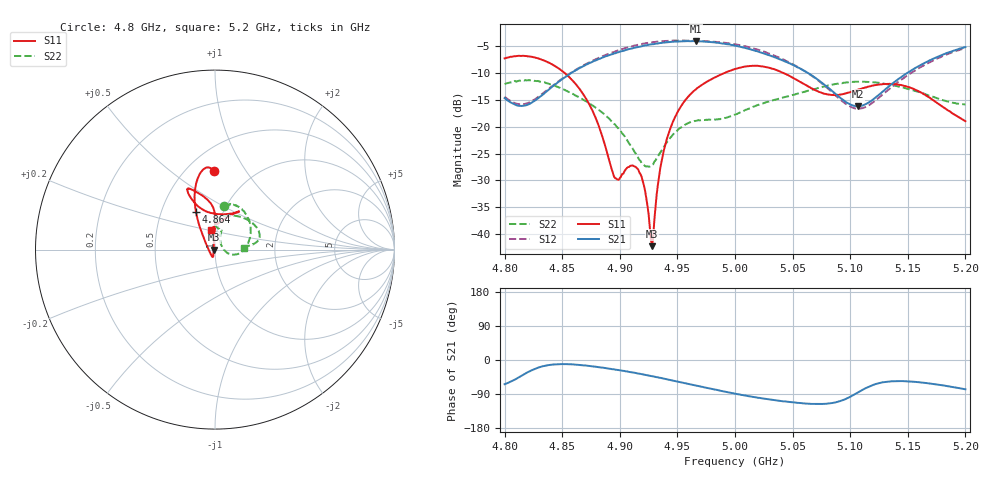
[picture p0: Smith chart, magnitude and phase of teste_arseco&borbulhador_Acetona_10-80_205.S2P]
! Network Analyzer HP8722D
! Hewlett-Packard
! Data name: Linha & Wilkinson
! Saver's name: Rodrigo Anjos
! Comments: Teste da utilização de aquisição
! continua pelo VNA HP8722D
! Time and date: 25/4/2025 16:58
!  Frequency  S11  S21  S12  S22
# HZ  S  MA R 50
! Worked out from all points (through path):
!   401 points, 4.8 GHz to 5.2 GHz, reference 50 ohm
!   highest |S21| = -3.99 dB at 4.966 GHz (marker M1); lowest = -16.2 dB at 5.107 GHz (marker M2)
!   lowest |S11| = -42.3 dB at 4.928 GHz (marker M3), VSWR 1.02, Z = 49.2 + j0.047 ohm
!   |S11| at or under -10 dB: 4.852 GHz to 4.99 GHz (137.8 MHz wide, 2.8 % of centre); 5.043 GHz to end of sweep
!   |S22| runs from -27.4 to -11.3 dB; largest |S21 - S12| = 1.2
!   S11 on the Smith chart (normalised r, x): 4.8 GHz: 0.67, +0.72; 4.864 GHz: 0.75, +0.33; 5.2 GHz: 0.93, +0.21
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4.8e9  0.4352 90.9  0.1856 -63.8  0.1906 69.6  0.25 77.8
4.82e9  0.4549 97.3  0.1608 -32.3  0.1667 98.4  0.2726 61.7
4.843e9  0.3737 106.6  0.2452 -11.8  0.2481 118.8  0.2437 37.1
4.864e9  0.2343 116.9  0.3484 -12.8  0.3519 121.1  0.1908 12.2
4.867e9  0.211 118.6  0.3627 -13.8  0.3668 120.7  0.183 8.8
4.88e9  0.1139 128.8  0.4214 -18.2  0.4312 118.4  0.149 -5.0
4.896e9  0.03325 -169.5  0.4857 -25.4  0.5057 113.2  0.105 -15.5
4.909e9  0.04336 -109.4  0.5341 -31.7  0.5602 107.7  0.06792 -14.1
4.917e9  0.0375 -105.0  0.5592 -36.1  0.5887 103.7  0.04914 -0.8
4.921e9  0.02819 -108.9  0.5736 -38.5  0.5982 101.5  0.04404 11.9
4.928e9  0.007717 176.5  0.5906 -42.7  0.6152 97.2  0.04432 40.1
4.934e9  0.03389 101.1  0.6032 -46.6  0.6284 93.4  0.05527 57.3
4.939e9  0.06477 93.7  0.6123 -49.6  0.6328 90.1  0.06701 65.3
4.946e9  0.111 90.3  0.6228 -54.1  0.6382 85.8  0.0845 69.5
4.966e9  0.2237 91.7  0.6319 -67.2  0.636 72.8  0.1137 71.8
5e9  0.3467 109.4  0.5732 -88.9  0.5916 50.9  0.13 88.2
5.029e9  0.3583 115.3  0.468 -103.7  0.4852 34.4  0.1716 85.7
5.067e9  0.2281 105.7  0.3006 -115.9  0.298 23.7  0.2223 57.3
5.107e9  0.2231 64.5  0.1557 -85.2  0.1477 57.8  0.2638 24.3
5.134e9  0.2522 57.9  0.2401 -56.6  0.2257 88.8  0.2482 12.4
5.169e9  0.187 70.5  0.4178 -61.9  0.4001 84.9  0.1954 6.8
5.2e9  0.113 101.0  0.5548 -77.3  0.5437 70.3  0.162 3.7
